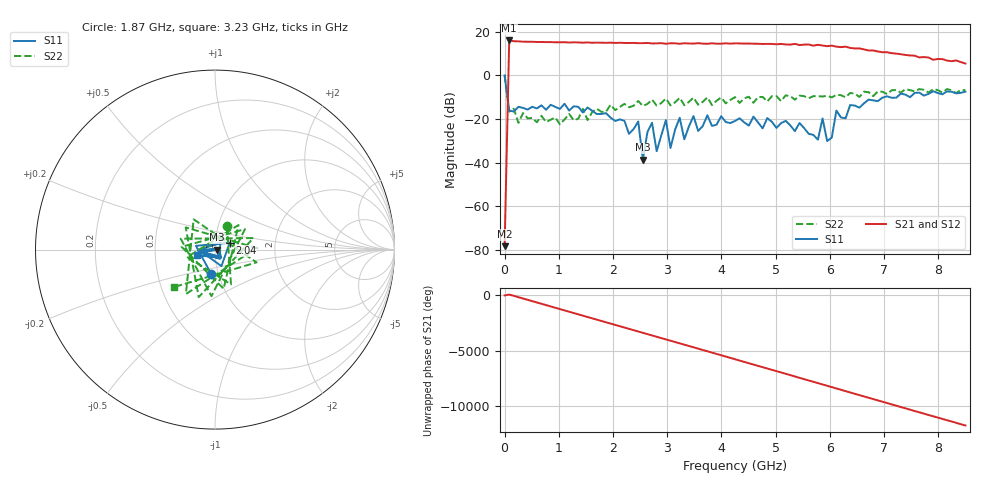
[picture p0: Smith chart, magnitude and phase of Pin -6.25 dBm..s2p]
! RsaToolbox (C) 2013 Rohde & Schwarz America
! Number of points: 101
! Number of ports: 2
! Balanced ports?: 0
# Hz S RI R 50
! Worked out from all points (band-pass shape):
!   101 points, 9 kHz to 8.5 GHz, reference 50 ohm
!   highest |S21| = 16.07 dB at 85.01 MHz (marker M1); lowest = -78.3 dB at 9 kHz (marker M2)
!   |S21| within 3 dB of the highest: 82.31 MHz to 6.186 GHz (6.103 GHz wide, 195 % of centre); 6.224 GHz to 6.314 GHz (89.2 MHz wide, 1.42 % of centre)
!   lowest |S11| = -38.6 dB at 2.55 GHz (marker M3), VSWR 1.02, Z = 51.2 - j0.0239 ohm
!   |S11| at or under -10 dB: 53.27 MHz to 6.992 GHz (6.939 GHz wide, 197 % of centre); 7.112 GHz to 7.233 GHz (121 MHz wide, 1.69 % of centre)
!   |S22| runs from -22.4 to 0.2 dB; largest |S21 - S12| = 0
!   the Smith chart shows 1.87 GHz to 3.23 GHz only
!   S11 on the Smith chart (normalised r, x): 1.87 GHz: 0.92, -0.25; 2.04 GHz: 1.17, +0.09; 3.23 GHz: 0.81, -0.05
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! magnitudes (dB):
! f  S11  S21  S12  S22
! 9 kHz  0.1  -78.3  -78.3  0.2
! 85.01 MHz  -16.0  16.1  16.1  -16.6
! 1.02 GHz  -15.3  15.2  15.2  -22.4
! 1.445 GHz  -17.0  15.0  15.0  -15.3
! 1.87 GHz  -17.3  15.0  15.0  -16.6
! 2.04 GHz  -20.9  14.9  14.9  -15.9
! 2.465 GHz  -21.1  14.8  14.8  -11.7
! 2.55 GHz  -38.6  14.8  14.8  -14.0
! 2.72 GHz  -21.7  14.7  14.7  -11.1
! 2.805 GHz  -34.7  14.7  14.7  -13.8
! 2.89 GHz  -27.5  14.8  14.8  -12.7
! 2.975 GHz  -20.5  14.5  14.5  -10.6
! 3.06 GHz  -33.2  14.8  14.8  -13.7
! 3.23 GHz  -19.4  14.6  14.6  -10.2
! 3.315 GHz  -29.3  14.8  14.8  -13.6
! 3.485 GHz  -18.6  14.6  14.6  -10.2
! 3.57 GHz  -25.4  14.8  14.8  -13.4
! 4.25 GHz  -20.8  14.7  14.7  -9.9
! 5.695 GHz  -27.2  13.7  13.7  -9.5
! 6.12 GHz  -16.1  13.2  13.2  -8.8
! 7.14 GHz  -10.2  10.2  10.2  -6.8
! 8.5 GHz  -7.4  5.5  5.5  -6.7
